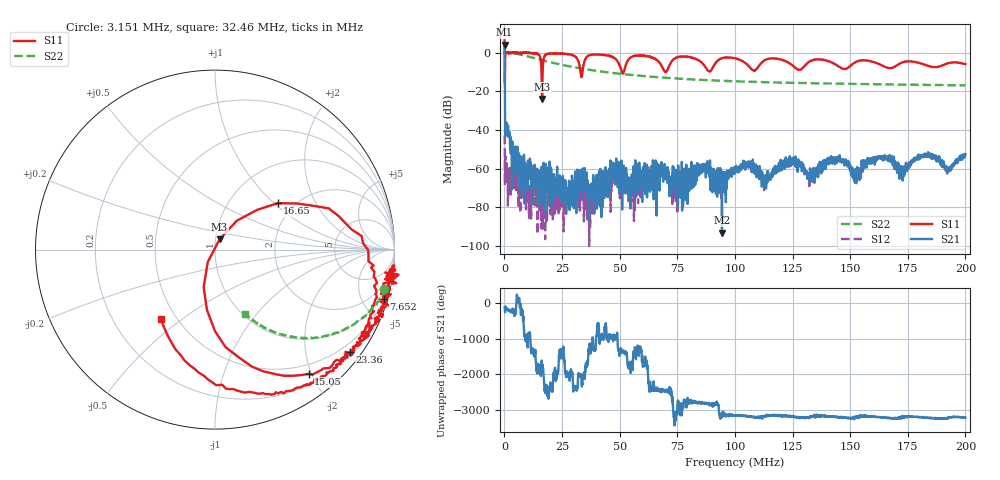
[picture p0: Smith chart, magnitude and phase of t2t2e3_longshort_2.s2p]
! 27-Aug-26 2:33:24 PM
! E:\20260827_VNA\T2T2E3_LONGSHORT_2.S2P
! CHANNEL.1
! TR.MEASUREMENT
! CORRECTED.DATA
# GHZ S RI R 50.0
! FREQ.GHZ  S11RE  S11IM  S21RE  S21IM  S12RE  S12IM  S22RE  S22IM
!; PortSelection: Port_12
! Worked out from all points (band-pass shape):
!   2000 points, 50 kHz to 200 MHz, reference 50 ohm
!   highest |S21| = 4.03 dB at 50 kHz (marker M1); lowest = -93.2 dB at 94.37 MHz (marker M2)
!   |S21| within 3 dB of the highest: start of sweep to 77.6 kHz
!   lowest |S11| = -24.0 dB at 16.35 MHz (marker M3), VSWR 1.14, Z = 52.3 + j6.07 ohm
!   |S11| at or under -10 dB: 32.99 MHz to 33.85 MHz (857.6 kHz wide, 2.57 % of centre); 50.91 MHz to 51.78 MHz (869.8 kHz wide, 1.69 % of centre); 69.62 MHz to 70.17 MHz (546.3 kHz wide, 0.782 % of centre)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
!   |S22| runs from -17.0 to 0.8 dB; largest |S21 - S12| = 1.6
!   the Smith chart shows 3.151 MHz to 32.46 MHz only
!   S11 on the Smith chart (normalised r, x): 3.151 MHz: 1, -13; 7.652 MHz: 0.47, -6.94; 15.05 MHz: 0.35, -1.96; 16.65 MHz: 1.65, +1.05; 23.36 MHz: 0.29, -2.96; 32.46 MHz: 0.41, -0.42
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5e-05  -1.904 0.7975  -0.5725 -1.484  0.00285 -0.0065  1.1 -0.000605
0.001350325  0.9889 -0.0657  -0.00855 -0.00335  8.57e-05 -0.000589  0.9837 -0.1033
0.003150775  0.9725 -0.1482  -0.00219 0.000222  -0.000281 -0.000719  0.9422 -0.2194
0.007651901  0.9415 -0.2758  -0.00107 2.96e-05  -8.97e-05 -0.000241  0.7591 -0.4188
0.01505375  0.5221 -0.692  -2.1e-06 -0.000272  -5.72e-05 -7.41e-05  0.4532 -0.4892
0.01635408  0.0257 0.0578  0.00045 -0.000237  -0.000149 -0.000107  0.4155 -0.482
0.01665415  0.3488 0.2584  0.000182 -0.000246  -0.000247 0.000176  0.4048 -0.4827
0.02335583  0.7516 -0.5679  -0.000226 -0.000575  -0.000188 5.34e-05  0.2671 -0.4306
0.0324581  -0.3014 -0.3893  1.62e-05 0.000395  -8.71e-05 2.04e-05  0.1688 -0.3589
0.03345835  -0.148 0.1766  -2.7e-06 -0.000723  0.000215 0.000302  0.1618 -0.3516
0.03695923  0.8005 -0.3127  0.000153 -0.000164  3.48e-05 7.2e-06  0.1398 -0.3299
0.05006251  -0.4016 -0.208  -8.16e-05 0.000776  -5.1e-05 0.000162  0.0904 -0.2687
0.05526381  0.7312 -0.2818  -0.000457 0.000546  -0.000296 0.000118  0.079 -0.2521
0.06676668  -0.3832 -0.4546  -0.000213 0.000999  -0.000269 0.000841  0.0591 -0.2229
0.07356838  0.6669 -0.1626  0.000827 0.000657  7e-06 0.000508  0.0489 -0.2107
0.09437359  0.5422 -0.4653  1.81e-05 1.21e-05  -0.000107 0.000566  0.0278 -0.1843
0.100075  -0.1319 -0.7021  2e-05 0.000905  0.000129 0.000905  0.0227 -0.1799
0.1087772  0.0274 0.3471  0.000853 0.00049  0.000862 0.000903  0.0154 -0.1743
0.1333833  0.4374 -0.4527  0.000367 0.000543  0.000495 0.00035  -0.00398 -0.1617
0.1666917  -0.0714 0.3937  0.00196 0.000388  0.00183 0.00031  -0.0295 -0.1476
0.1909977  0.4818 -0.1058  0.00102 5.24e-05  0.00127 -0.000154  -0.048 -0.1353
0.2  -0.4961 -0.0828  0.00215 0.000995  0.0022 0.000924  -0.0551 -0.1302
